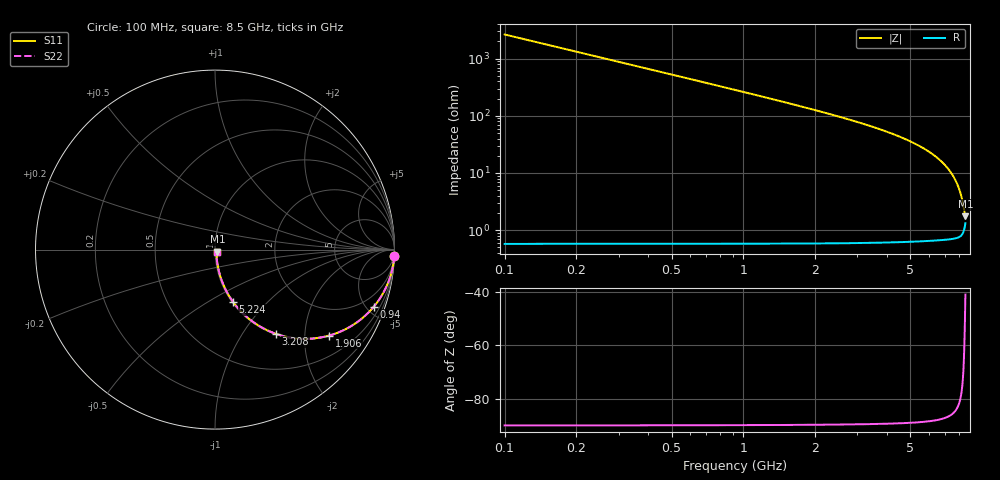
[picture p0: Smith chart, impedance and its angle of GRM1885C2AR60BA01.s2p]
!Murata Part Number: GRM1885C2AR60BA01
!These Parameters are Measured in Series Mode Connection
!Data Generated on Mar 30, 2021
!  o--ll--o
!Port1  Port2
!  o------o
!Operation Temp=25[degC], DC Bias Voltage=0[V]
!Freq. Start=100[MHz] Stop=9[GHz] 401[Steps]
# Hz S RI R 50
!Freq.(Hz) S11(Real) S11(Imag) S21(Real) S21(Imag) S12(Real) S12(Imag) S22(Real) S22(Imag)
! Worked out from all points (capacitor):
!   401 points, 100 MHz to 8.5 GHz, reference 50 ohm
!   read as one part in series: C = 600 fF near 142 MHz
!   lowest |Z| = 1.75 ohm at 8.5 GHz (marker M1)
!   S11 on the Smith chart (normalised r, x): 100 MHz: 1, -53; 940 MHz: 1.01, -5.58; 1.906 GHz: 1.01, -2.65; 3.208 GHz: 1.01, -1.43; 5.224 GHz: 1.01, -0.65; 8.5 GHz: 1.03, -0.02
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1e8  0.9986 -0.0376  0.00143 0.0376  0.00143 0.0376  0.9986 -0.0376
1.84e8  0.9952 -0.0691  0.00482 0.0691  0.00482 0.0691  0.9952 -0.0691
2.47e8  0.9913 -0.0924  0.00866 0.0924  0.00866 0.0924  0.9913 -0.0924
3.94e8  0.9782 -0.1456  0.0218 0.1456  0.0218 0.1456  0.9782 -0.1456
6.25e8  0.9466 -0.2241  0.0534 0.2241  0.0534 0.2241  0.9466 -0.2241
9.4e8  0.8856 -0.3173  0.1144 0.3173  0.1144 0.3173  0.8856 -0.3173
1.192e9  0.826 -0.3778  0.174 0.3778  0.174 0.3778  0.826 -0.3778
1.507e9  0.744 -0.4347  0.256 0.4347  0.256 0.4347  0.744 -0.4347
1.906e9  0.6368 -0.4787  0.3632 0.4787  0.3632 0.4787  0.6368 -0.4787
2.368e9  0.5186 -0.4968  0.4814 0.4968  0.4814 0.4968  0.5186 -0.4968
2.914e9  0.3965 -0.4855  0.6035 0.4855  0.6035 0.4855  0.3965 -0.4855
3.208e9  0.34 -0.4696  0.66 0.4696  0.66 0.4696  0.34 -0.4696
4.3e9  0.1828 -0.38  0.8172 0.38  0.8172 0.38  0.1828 -0.38
5.224e9  0.101 -0.2918  0.899 0.2918  0.899 0.2918  0.101 -0.2918
5.707e9  0.0717 -0.2462  0.9283 0.2462  0.9283 0.2462  0.0717 -0.2462
6.484e9  0.0387 -0.1758  0.9613 0.1758  0.9613 0.1758  0.0387 -0.1758
7.114e9  0.022 -0.1221  0.978 0.1221  0.978 0.1221  0.022 -0.1221
7.597e9  0.014 -0.083  0.986 0.083  0.986 0.083  0.014 -0.083
7.954e9  0.0105 -0.0549  0.9895 0.0549  0.9895 0.0549  0.0105 -0.0549
8.206e9  0.0094 -0.035  0.9906 0.035  0.9906 0.035  0.0094 -0.035
8.437e9  0.0112 -0.0162  0.9888 0.0162  0.9888 0.0162  0.0112 -0.0162
8.5e9  0.0132 -0.0112  0.9868 0.0112  0.9868 0.0112  0.0132 -0.0112
